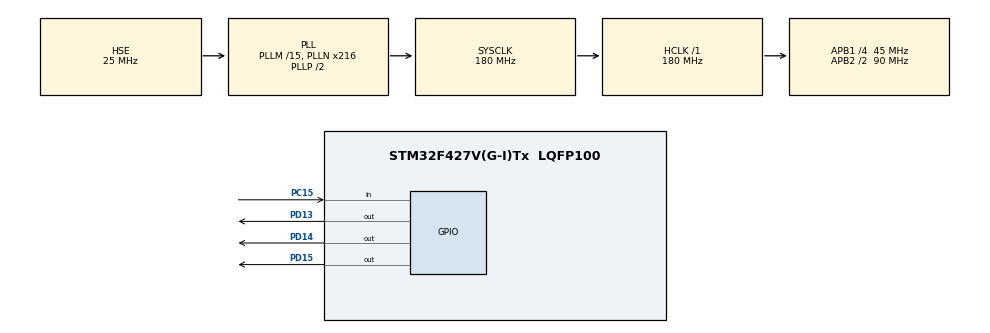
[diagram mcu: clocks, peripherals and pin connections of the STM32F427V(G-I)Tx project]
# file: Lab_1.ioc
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Mcu.Family=STM32F4
Mcu.Name=STM32F427V(G-I)Tx
Mcu.Package=LQFP100
NVIC.PriorityGroup=NVIC_PRIORITYGROUP_4
PA13.Mode=JTAG_5_pins
PA13.Signal=SYS_JTMS-SWDIO
PA14.Mode=JTAG_5_pins
PA14.Signal=SYS_JTCK-SWCLK
PA15.Mode=JTAG_5_pins
PA15.Signal=SYS_JTDI
PB3.Mode=JTAG_5_pins
PB3.Signal=SYS_JTDO-SWO
PB4.Mode=JTAG_5_pins
PB4.Signal=SYS_JTRST
PC15/OSC32_OUT.Signal=GPIO_Input
PD13.Signal=GPIO_Output
PD14.Signal=GPIO_Output
PD15.Signal=GPIO_Output
PH0/OSC_IN.Mode=HSE-External-Oscillator
PH0/OSC_IN.Signal=RCC_OSC_IN
PH1/OSC_OUT.Mode=HSE-External-Oscillator
PH1/OSC_OUT.Signal=RCC_OSC_OUT
ProjectManager.HeapSize=0x200
ProjectManager.StackSize=0x400
ProjectManager.TargetToolchain=STM32CubeIDE
RCC.48MHZClocksFreq_Value=90000000
RCC.AHBFreq_Value=180000000
RCC.APB1CLKDivider=RCC_HCLK_DIV4
RCC.APB1Freq_Value=45000000
RCC.APB1TimFreq_Value=90000000
RCC.APB2CLKDivider=RCC_HCLK_DIV2
RCC.APB2Freq_Value=90000000
RCC.APB2TimFreq_Value=180000000
RCC.CortexFreq_Value=180000000
RCC.HCLKFreq_Value=180000000
RCC.HSE_VALUE=25000000
RCC.HSI_VALUE=16000000
RCC.LSE_VALUE=32768
RCC.PLLM=15
RCC.PLLN=216
RCC.PLLSourceVirtual=RCC_PLLSOURCE_HSE
RCC.SYSCLKFreq_VALUE=180000000
RCC.SYSCLKSource=RCC_SYSCLKSOURCE_PLLCLK
RCC.VCOOutputFreq_Value=360000000
board=custom

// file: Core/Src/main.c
/* USER CODE BEGIN Header */
/**
  ******************************************************************************
  * @file           : main.c
  * @brief          : Main program body
  ******************************************************************************
  * @attention
  *
  * Copyright (c) 2022 STMicroelectronics.
  * All rights reserved.
  *
  * This software is licensed under terms that can be found in the LICENSE file
  * in the root directory of this software component.
  * If no LICENSE file comes with this software, it is provided AS-IS.
  *
  ******************************************************************************
  */
/* USER CODE END Header */
#include "main.h"
#include "gpio.h"

void SystemClock_Config(void);

int main(void)
{
  /* USER CODE BEGIN 1 */
  void overflow_animation(int overflow_count){
	  HAL_GPIO_WritePin(GPIOD, GPIO_PIN_13, GPIO_PIN_RESET);
      HAL_GPIO_WritePin(GPIOD, GPIO_PIN_15, GPIO_PIN_RESET);
	  HAL_Delay(250);
	  HAL_GPIO_WritePin(GPIOD, GPIO_PIN_13, GPIO_PIN_SET);
	  HAL_GPIO_WritePin(GPIOD, GPIO_PIN_14, GPIO_PIN_SET);
	  HAL_Delay(250);
	  HAL_GPIO_WritePin(GPIOD, GPIO_PIN_13, GPIO_PIN_RESET);
	  HAL_GPIO_WritePin(GPIOD, GPIO_PIN_14, GPIO_PIN_RESET);
	  HAL_Delay(500);

	  for (int i = 0; i < abs(overflow_count); i++){
		  if (overflow_count > 0){
			 HAL_GPIO_WritePin(GPIOD, GPIO_PIN_13, GPIO_PIN_SET);
			 HAL_Delay(250);
			 HAL_GPIO_WritePin(GPIOD, GPIO_PIN_13, GPIO_PIN_RESET);
			 HAL_Delay(250);
		  } else {
			 HAL_GPIO_WritePin(GPIOD, GPIO_PIN_15, GPIO_PIN_SET);
			 HAL_Delay(250);
			 HAL_GPIO_WritePin(GPIOD, GPIO_PIN_15, GPIO_PIN_RESET);
			 HAL_Delay(250);
		 }
	 }
  }
  /* USER CODE END 1 */

  /* MCU Configuration--------------------------------------------------------*/

  /* Reset of all peripherals, Initializes the Flash interface and the Systick. */
  HAL_Init();

  /* Configure the system clock */
  SystemClock_Config();

  /* Initialize all configured peripherals */
  MX_GPIO_Init();
  /* USER CODE BEGIN 2 */
  int count = 0;
  int overflow_count = 0;
  _Bool was_pressed = 0;
  _Bool is_long_press = 0;
  uint32_t wait = 500;

  /* USER CODE END 2 */

  /* Infinite loop */
  /* USER CODE BEGIN WHILE */
  while (1)
  {
	  int start_time;
	  int button_state = HAL_GPIO_ReadPin(GPIOC, GPIO_PIN_15);
	  was_pressed = 0;
	  is_long_press = 0;

	  if(!button_state){
		  start_time = HAL_GetTick();
	  }
	  while (!button_state){
		  was_pressed = 1;
		  if (HAL_GetTick() - start_time >= wait){
			  is_long_press = 1;
		  }
		  button_state = HAL_GPIO_ReadPin(GPIOC, GPIO_PIN_15);
	  }

	  if (was_pressed){
		  !is_long_press ? count++ : count--;
	  }

	  if (count < 0){
		  count = 3;
		  overflow_count--;
		  overflow_animation(overflow_count);
	  }
	  if (count == 0 || count >= 4){
		 HAL_GPIO_WritePin(GPIOD, GPIO_PIN_13, GPIO_PIN_RESET);
		 HAL_GPIO_WritePin(GPIOD, GPIO_PIN_15, GPIO_PIN_RESET);
		 if (count >= 4){
			 count = 0;
			 overflow_count++;
			 overflow_animation(overflow_count);
		 }
	  }
	  if (count == 1){
	  	 HAL_GPIO_WritePin(GPIOD, GPIO_PIN_13, GPIO_PIN_SET);
	  	 HAL_GPIO_WritePin(GPIOD, GPIO_PIN_15, GPIO_PIN_RESET);
	  }
	  if (count == 2){
	  	 HAL_GPIO_WritePin(GPIOD, GPIO_PIN_13, GPIO_PIN_RESET);
	  	 HAL_GPIO_WritePin(GPIOD, GPIO_PIN_15, GPIO_PIN_SET);
	  }
	  if (count == 3){
	  	 HAL_GPIO_WritePin(GPIOD, GPIO_PIN_13, GPIO_PIN_SET);
	  	 HAL_GPIO_WritePin(GPIOD, GPIO_PIN_15, GPIO_PIN_SET);
	  }

    /* USER CODE END WHILE */

  }
}

void SystemClock_Config(void)
{
  RCC_OscInitTypeDef RCC_OscInitStruct = {0};
  RCC_ClkInitTypeDef RCC_ClkInitStruct = {0};

  /** Configure the main internal regulator output voltage
  */
  __HAL_RCC_PWR_CLK_ENABLE();
  __HAL_PWR_VOLTAGESCALING_CONFIG(PWR_REGULATOR_VOLTAGE_SCALE1);

  /** Initializes the RCC Oscillators according to the specified parameters
  * in the RCC_OscInitTypeDef structure.
  */
  RCC_OscInitStruct.OscillatorType = RCC_OSCILLATORTYPE_HSE;
  RCC_OscInitStruct.HSEState = RCC_HSE_ON;
  RCC_OscInitStruct.PLL.PLLState = RCC_PLL_ON;
  RCC_OscInitStruct.PLL.PLLSource = RCC_PLLSOURCE_HSE;
  RCC_OscInitStruct.PLL.PLLM = 15;
  RCC_OscInitStruct.PLL.PLLN = 216;
  RCC_OscInitStruct.PLL.PLLP = RCC_PLLP_DIV2;
  RCC_OscInitStruct.PLL.PLLQ = 4;
  if (HAL_RCC_OscConfig(&RCC_OscInitStruct) != HAL_OK)
  {
    Error_Handler();
  }

  /** Activate the Over-Drive mode
  */
  if (HAL_PWREx_EnableOverDrive() != HAL_OK)
  {
    Error_Handler();
  }

  /** Initializes the CPU, AHB and APB buses clocks
  */
  RCC_ClkInitStruct.ClockType = RCC_CLOCKTYPE_HCLK|RCC_CLOCKTYPE_SYSCLK
                              |RCC_CLOCKTYPE_PCLK1|RCC_CLOCKTYPE_PCLK2;
  RCC_ClkInitStruct.SYSCLKSource = RCC_SYSCLKSOURCE_PLLCLK;
  RCC_ClkInitStruct.AHBCLKDivider = RCC_SYSCLK_DIV1;
  RCC_ClkInitStruct.APB1CLKDivider = RCC_HCLK_DIV4;
  RCC_ClkInitStruct.APB2CLKDivider = RCC_HCLK_DIV2;

  if (HAL_RCC_ClockConfig(&RCC_ClkInitStruct, FLASH_LATENCY_5) != HAL_OK)
  {
    Error_Handler();
  }
}

void Error_Handler(void)
{
  __disable_irq();
  while (1)
  {
  }
}
